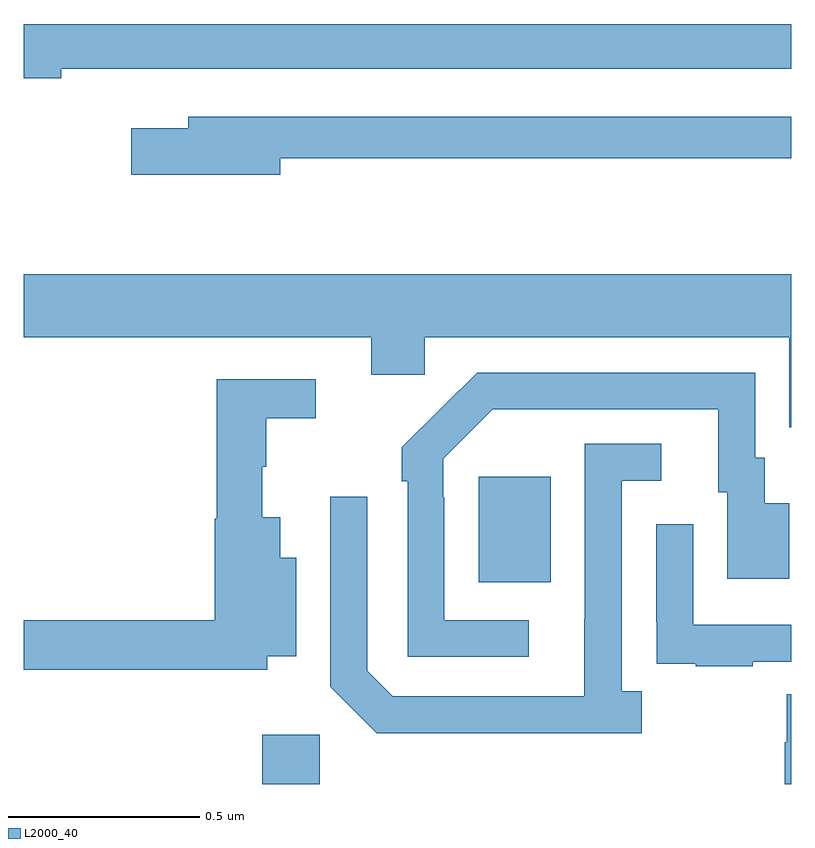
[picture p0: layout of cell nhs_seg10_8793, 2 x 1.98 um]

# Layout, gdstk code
import gdstk
lib = gdstk.Library(unit=1e-6, precision=1e-09)
def R(c, l, rs):  # rectangles x0, y0, x1, y1
    for r in rs: c.add(gdstk.rectangle(r[:2], r[2:], *l))
def P(c, l, *ps):  # polygons
    for p in ps: c.add(gdstk.Polygon(p, *l))
L2000_40 = (2000, 40)

nhs_seg10_8793 = lib.new_cell('nhs_seg10_8793')
R(nhs_seg10_8793, L2000_40, [(221.621,1284.5,221.772,1284.628), (222.185,1285.025,222.373,1285.3)])
P(nhs_seg10_8793, L2000_40, [(221.098,1286.363),(221.292,1286.363),(221.292,1286.364),(223,1286.364),(223,1286.48),(221,1286.48),(221,1286.339),(221.098,1286.339)],
  [(221.668,1286.13),(223,1286.13),(223,1286.238),(221.429,1286.238),(221.429,1286.209),(221.28,1286.209),(221.28,1286.087),(221.668,1286.087)],
  [(223,1285.828),(221,1285.828),(221,1285.664),(221.906,1285.664),(221.906,1285.566),(222.045,1285.566),(222.045,1285.664),(222.995,1285.664),(222.995,1285.429),(223,1285.429)],
  [(222.316,1284.927),(222.096,1284.927),(222.096,1285.247),(222.093,1285.247),(222.093,1285.347),(222.222,1285.476),(222.809,1285.476),(222.809,1285.26),(222.833,1285.26),(222.833,1285.035),(222.994,1285.035),(222.994,1285.231),(222.931,1285.231),(222.931,1285.35),(222.906,1285.35),(222.906,1285.572),(222.182,1285.572),(222.091,1285.481),(222.09,1285.482),(221.985,1285.377),(221.985,1285.289),(222,1285.289),(222,1284.831),(222.316,1284.831)],
  [(221.634,1284.833),(221.71,1284.833),(221.71,1285.09),(221.668,1285.09),(221.668,1285.195),(221.621,1285.195),(221.621,1285.326),(221.632,1285.326),(221.632,1285.453),(221.761,1285.453),(221.761,1285.554),(221.503,1285.554),(221.503,1285.191),(221.498,1285.191),(221.498,1284.926),(221,1284.926),(221,1284.798),(221.634,1284.798)],
  [(222.61,1284.742),(222.558,1284.742),(222.558,1285.29),(222.661,1285.29),(222.661,1285.386),(222.462,1285.386),(222.462,1284.929),(222.461,1284.929),(222.461,1284.729),(221.961,1284.729),(221.895,1284.795),(221.895,1285.249),(221.799,1285.249),(221.799,1284.753),(221.92,1284.632),(222.61,1284.632)],
  [(222.899,1284.819),(223,1284.819),(223,1284.915),(222.744,1284.915),(222.744,1285.177),(222.648,1285.177),(222.648,1284.922),(222.649,1284.922),(222.649,1284.813),(222.751,1284.813),(222.751,1284.807),(222.899,1284.807)],
  [(223,1284.734),(222.988,1284.734),(222.988,1284.609),(222.983,1284.609),(222.983,1284.5),(223,1284.5)])

lib.write_gds('nhs_seg10_8793.gds')
